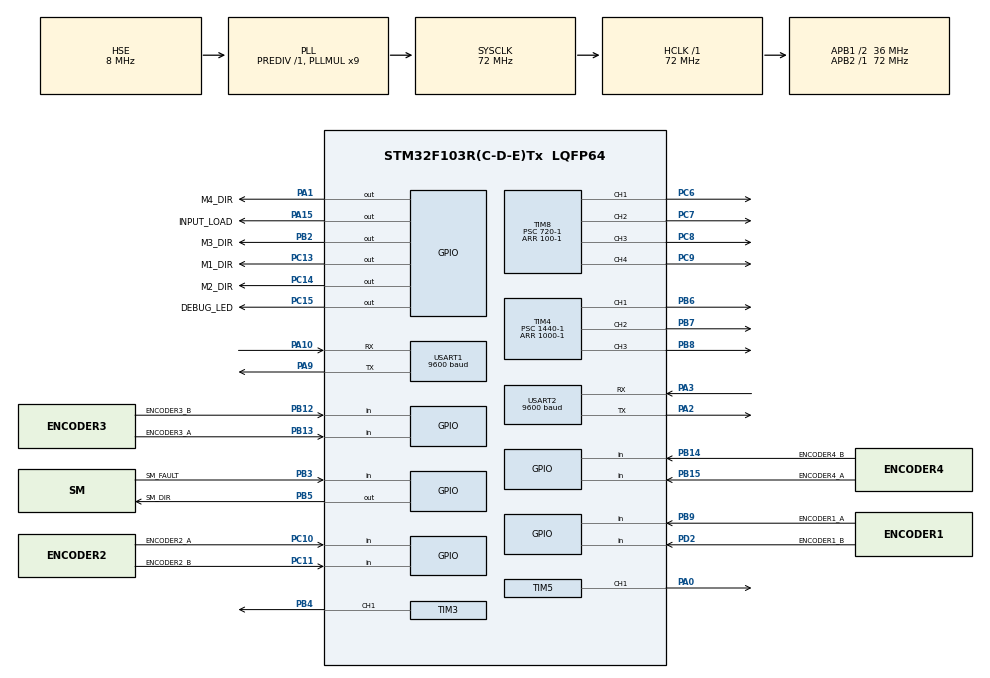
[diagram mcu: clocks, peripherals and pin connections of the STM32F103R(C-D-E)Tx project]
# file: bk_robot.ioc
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Mcu.Family=STM32F1
Mcu.Name=STM32F103R(C-D-E)Tx
Mcu.Package=LQFP64
NVIC.PriorityGroup=NVIC_PRIORITYGROUP_4
NVIC.TIM2_IRQn=true\:0\:0\:false\:false\:true\:true\:true\:true
NVIC.TIM3_IRQn=true\:0\:0\:false\:false\:true\:true\:true\:true
NVIC.TIM4_IRQn=true\:0\:0\:false\:false\:true\:true\:true\:true
NVIC.TIM5_IRQn=true\:0\:0\:false\:false\:true\:true\:true\:true
NVIC.USART1_IRQn=true\:0\:0\:false\:false\:true\:true\:true\:true
NVIC.USART2_IRQn=true\:0\:0\:false\:false\:true\:true\:true\:true
PA0-WKUP.Signal=S_TIM5_CH1
PA1.GPIO_Label=M4_DIR
PA1.Signal=GPIO_Output
PA10.Mode=Asynchronous
PA10.Signal=USART1_RX
PA13.Mode=Serial_Wire
PA13.Signal=SYS_JTMS-SWDIO
PA14.Mode=Serial_Wire
PA14.Signal=SYS_JTCK-SWCLK
PA15.GPIO_Label=INPUT_LOAD
PA15.Signal=GPIO_Output
PA2.Mode=Asynchronous
PA2.Signal=USART2_TX
PA3.Mode=Asynchronous
PA3.Signal=USART2_RX
PA9.Mode=Asynchronous
PA9.Signal=USART1_TX
PB12.GPIO_Label=ENCODER3_B
PB12.Signal=GPIO_Input
PB13.GPIO_Label=ENCODER3_A
PB13.Signal=GPIO_Input
PB14.GPIO_Label=ENCODER4_B
PB14.Signal=GPIO_Input
PB15.GPIO_Label=ENCODER4_A
PB15.Signal=GPIO_Input
PB2.GPIO_Label=M3_DIR
PB2.Signal=GPIO_Output
PB3.GPIO_Label=SM_FAULT
PB3.Signal=GPIO_Input
PB4.Signal=S_TIM3_CH1
PB5.GPIO_Label=SM_DIR
PB5.Signal=GPIO_Output
PB6.Signal=S_TIM4_CH1
PB7.Signal=S_TIM4_CH2
PB8.Signal=S_TIM4_CH3
PB9.GPIO_Label=ENCODER1_A
PB9.Signal=GPIO_Input
PC10.GPIO_Label=ENCODER2_A
PC10.Signal=GPIO_Input
PC11.GPIO_Label=ENCODER2_B
PC11.Signal=GPIO_Input
PC13-TAMPER-RTC.GPIO_Label=M1_DIR
PC13-TAMPER-RTC.Signal=GPIO_Output
PC14-OSC32_IN.GPIO_Label=M2_DIR
PC14-OSC32_IN.Signal=GPIO_Output
PC15-OSC32_OUT.GPIO_Label=DEBUG_LED
PC15-OSC32_OUT.Signal=GPIO_Output
PC6.Signal=S_TIM8_CH1
PC7.Signal=S_TIM8_CH2
PC8.Signal=S_TIM8_CH3
PC9.Signal=S_TIM8_CH4
PD0-OSC_IN.Mode=HSE-External-Oscillator
PD0-OSC_IN.Signal=RCC_OSC_IN
PD1-OSC_OUT.Mode=HSE-External-Oscillator
PD1-OSC_OUT.Signal=RCC_OSC_OUT
PD2.GPIO_Label=ENCODER1_B
PD2.Signal=GPIO_Input
ProjectManager.HeapSize=0x200
ProjectManager.StackSize=0x400
ProjectManager.TargetToolchain=STM32CubeIDE
RCC.AHBFreq_Value=72000000
RCC.APB1CLKDivider=RCC_HCLK_DIV2
RCC.APB1Freq_Value=36000000
RCC.APB1TimFreq_Value=72000000
RCC.APB2Freq_Value=72000000
RCC.APB2TimFreq_Value=72000000
RCC.HCLKFreq_Value=72000000
RCC.PLLMUL=RCC_PLL_MUL9
RCC.PLLSourceVirtual=RCC_PLLSOURCE_HSE
RCC.SYSCLKFreq_VALUE=72000000
RCC.SYSCLKSource=RCC_SYSCLKSOURCE_PLLCLK
RCC.USBFreq_Value=72000000
SH.S_TIM3_CH1.0=TIM3_CH1,PWM Generation1 CH1
SH.S_TIM4_CH1.0=TIM4_CH1,PWM Generation1 CH1
SH.S_TIM4_CH2.0=TIM4_CH2,PWM Generation2 CH2
SH.S_TIM4_CH3.0=TIM4_CH3,PWM Generation3 CH3
SH.S_TIM5_CH1.0=TIM5_CH1,PWM Generation1 CH1
SH.S_TIM8_CH1.0=TIM8_CH1,PWM Generation1 CH1
SH.S_TIM8_CH2.0=TIM8_CH2,PWM Generation2 CH2
SH.S_TIM8_CH3.0=TIM8_CH3,PWM Generation3 CH3
SH.S_TIM8_CH4.0=TIM8_CH4,PWM Generation4 CH4
TIM2.Period=100-1
TIM2.Prescaler=720-1
TIM3.Channel-PWM\ Generation1\ CH1=TIM_CHANNEL_1
TIM3.Period=100-1
TIM3.Prescaler=720-1
TIM4.Channel-PWM\ Generation1\ CH1=TIM_CHANNEL_1
TIM4.Channel-PWM\ Generation2\ CH2=TIM_CHANNEL_2
TIM4.Channel-PWM\ Generation3\ CH3=TIM_CHANNEL_3
TIM4.Period=1000-1
TIM4.Prescaler=1440-1
TIM5.Channel-PWM\ Generation1\ CH1=TIM_CHANNEL_1
TIM5.Period=100-1
TIM5.Prescaler=720-1
TIM8.Channel-PWM\ Generation1\ CH1=TIM_CHANNEL_1
TIM8.Channel-PWM\ Generation2\ CH2=TIM_CHANNEL_2
TIM8.Channel-PWM\ Generation3\ CH3=TIM_CHANNEL_3
TIM8.Channel-PWM\ Generation4\ CH4=TIM_CHANNEL_4
TIM8.Period=100-1
TIM8.Prescaler=720-1
USART1.BaudRate=9600
USART1.VirtualMode=VM_ASYNC
USART2.BaudRate=9600
USART2.VirtualMode=VM_ASYNC
VP_TIM2_VS_ClockSourceINT.Mode=Internal
VP_TIM4_VS_ClockSourceINT.Mode=Internal
VP_TIM5_VS_ClockSourceINT.Mode=Internal
board=custom

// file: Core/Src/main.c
/* USER CODE BEGIN Header */
/**
  ******************************************************************************
  * @file           : main.c
  * @brief          : Main program body
  ******************************************************************************
  * @attention
  *
  * Copyright (c) 2024 STMicroelectronics.
  * All rights reserved.
  *
  * This software is licensed under terms that can be found in the LICENSE file
  * in the root directory of this software component.
  * If no LICENSE file comes with this software, it is provided AS-IS.
  *
  ******************************************************************************
  */
/* USER CODE END Header */
#include "main.h"
#include "tim.h"
#include "usart.h"
#include "gpio.h"

/* USER CODE BEGIN Includes */
#include "servo.h"
#include "software_timer.h"
#include "step_motor.h"
#include "move.h"
#include "uart.h"
#include "buzzer.h"
#include "encoder.h"
/* USER CODE END Includes */

void SystemClock_Config(void);
/* USER CODE BEGIN PFP */
void system_init();
void int32_to_4_uint8(int32_t value, uint8_t* bytes);
/* USER CODE END PFP */

int main(void)
{

  /* MCU Configuration--------------------------------------------------------*/

  /* Reset of all peripherals, Initializes the Flash interface and the Systick. */
  HAL_Init();

  /* Configure the system clock */
  SystemClock_Config();

  /* Initialize all configured peripherals */
  MX_GPIO_Init();
  MX_TIM4_Init();
  MX_TIM2_Init();
  MX_TIM3_Init();
  MX_TIM8_Init();
  MX_USART1_UART_Init();
  MX_USART2_UART_Init();
  MX_TIM5_Init();
  /* USER CODE BEGIN 2 */
  system_init();
  /* USER CODE END 2 */

  /* Infinite loop */
  /* USER CODE BEGIN WHILE */

  /*
   *
   * TEST DATA ENCODER
   *
   */
  uint8_t count = 0;
  int32_t a = 0;
  int32_t b = 0;
  int32_t c = 0;
  int32_t d = 0;
//  uint8_t data_encoder[8];
//  uint8_t pid_debug = 0;

//  uint8_t servo_debug = 2;
  char wheel1[100];
  char wheel2[100];
  char wheel3[100];
  char wheel4[100];

  char x = 255;
  char y = ':';

  uint8_t bytes[4];

  while (1)
  {
	  if(flag_timer2 == 1){
		  flag_timer2 = 0;
		  count = (count + 1) % 20;
		  if(count == 0){
			  HAL_GPIO_TogglePin(DEBUG_LED_GPIO_Port, DEBUG_LED_Pin);
			  HAL_UART_Transmit(&huart2, (void*)wheel1, sprintf((void*)wheel1,"%ld",abs(encoder_pulse[0])), 10);
			  HAL_UART_Transmit(&huart2, y, 1, 10);
			  HAL_UART_Transmit(&huart2, (void*)wheel2, sprintf((void*)wheel2,"%ld",abs(encoder_pulse[1])), 10);
			  HAL_UART_Transmit(&huart2, y, 1, 10);
			  HAL_UART_Transmit(&huart2, (void*)wheel3, sprintf((void*)wheel3,"%ld",abs(encoder_pulse[2])), 10);
			  HAL_UART_Transmit(&huart2, y, 1, 10);
			  HAL_UART_Transmit(&huart2, (void*)wheel4, sprintf((void*)wheel4,"%ld",abs(encoder_pulse[3])), 10);
			  HAL_UART_Transmit(&huart2, &x, 1, 10);

			  encoder_pulse[0] = 0;
			  encoder_pulse[1] = 0;
			  encoder_pulse[2] = 0;
			  encoder_pulse[3] = 0;
		  }
		  move_process();
		  servo_process();
		  sm_process();
	  }
//	  data_encoder[0] = HAL_GPIO_ReadPin(ENCODER1_A_GPIO_Port, ENCODER1_A_Pin);
//	  data_encoder[1] = HAL_GPIO_ReadPin(ENCODER2_A_GPIO_Port, ENCODER2_A_Pin);
//	  data_encoder[2] = HAL_GPIO_ReadPin(ENCODER3_A_GPIO_Port, ENCODER3_A_Pin);
//	  data_encoder[3] = HAL_GPIO_ReadPin(ENCODER4_A_GPIO_Port, ENCODER4_A_Pin);
//	  data_encoder[4] = HAL_GPIO_ReadPin(ENCODER1_B_GPIO_Port, ENCODER1_B_Pin);
//	  data_encoder[5] = HAL_GPIO_ReadPin(ENCODER2_B_GPIO_Port, ENCODER2_B_Pin);
//	  data_encoder[6] = HAL_GPIO_ReadPin(ENCODER3_B_GPIO_Port, ENCODER3_B_Pin);
//	  data_encoder[7] = HAL_GPIO_ReadPin(ENCODER4_B_GPIO_Port, ENCODER4_B_Pin);

    /* USER CODE END WHILE */

  }
}

void SystemClock_Config(void)
{
  RCC_OscInitTypeDef RCC_OscInitStruct = {0};
  RCC_ClkInitTypeDef RCC_ClkInitStruct = {0};

  /** Initializes the RCC Oscillators according to the specified parameters
  * in the RCC_OscInitTypeDef structure.
  */
  RCC_OscInitStruct.OscillatorType = RCC_OSCILLATORTYPE_HSE;
  RCC_OscInitStruct.HSEState = RCC_HSE_ON;
  RCC_OscInitStruct.HSEPredivValue = RCC_HSE_PREDIV_DIV1;
  RCC_OscInitStruct.HSIState = RCC_HSI_ON;
  RCC_OscInitStruct.PLL.PLLState = RCC_PLL_ON;
  RCC_OscInitStruct.PLL.PLLSource = RCC_PLLSOURCE_HSE;
  RCC_OscInitStruct.PLL.PLLMUL = RCC_PLL_MUL9;
  if (HAL_RCC_OscConfig(&RCC_OscInitStruct) != HAL_OK)
  {
    Error_Handler();
  }

  /** Initializes the CPU, AHB and APB buses clocks
  */
  RCC_ClkInitStruct.ClockType = RCC_CLOCKTYPE_HCLK|RCC_CLOCKTYPE_SYSCLK
                              |RCC_CLOCKTYPE_PCLK1|RCC_CLOCKTYPE_PCLK2;
  RCC_ClkInitStruct.SYSCLKSource = RCC_SYSCLKSOURCE_PLLCLK;
  RCC_ClkInitStruct.AHBCLKDivider = RCC_SYSCLK_DIV1;
  RCC_ClkInitStruct.APB1CLKDivider = RCC_HCLK_DIV2;
  RCC_ClkInitStruct.APB2CLKDivider = RCC_HCLK_DIV1;

  if (HAL_RCC_ClockConfig(&RCC_ClkInitStruct, FLASH_LATENCY_2) != HAL_OK)
  {
    Error_Handler();
  }
}

/* USER CODE BEGIN 4 */
void system_init(){
	stop();
	timer_init();
	servo_init(3);
	buzzer_init();
	dc_init();
	uart_init();
	set_timer2(50);
}

void int32_to_4_uint8(int32_t value, uint8_t* bytes){
	value = abs(value);
    bytes[0] = (value >> 24) & 0xFF;
    bytes[1] = (value >> 16) & 0xFF;
    bytes[2] = (value >> 8) & 0xFF;
    bytes[3] = value & 0xFF;
}
/* USER CODE END 4 */

void Error_Handler(void)
{
  __disable_irq();
  while (1)
  {
  }
}
